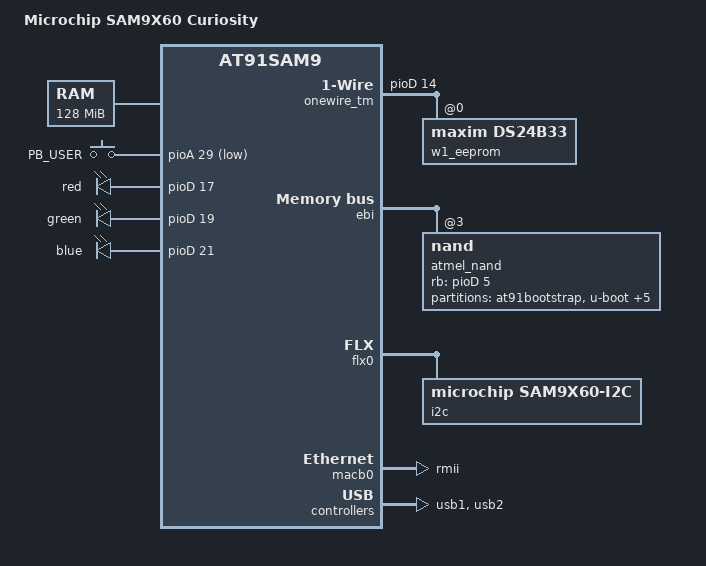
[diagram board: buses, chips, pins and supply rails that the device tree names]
// SPDX-License-Identifier: (GPL-2.0+ OR MIT)
/*
 * at91-sam9x60_curiosity.dts - Device Tree file for SAM9X60 CURIOSITY board
 *
 * Copyright (C) 2022 Microchip Technology Inc. and its subsidiaries
 *
 * Author: Durai Manickam KR <durai.manickamkr@microchip.com>
 */
/dts-v1/;
#include <dt-bindings/input/input.h>
#include <dt-bindings/mfd/atmel-flexcom.h>
#include "sam9x60.dtsi"

/ {
	model = "Microchip SAM9X60 Curiosity";
	compatible = "microchip,sam9x60-curiosity", "microchip,sam9x60", "atmel,at91sam9";

	chosen {
		stdout-path = &dbgu;
		i2c0 = &flx0;
	};

	memory {
		reg = <0x20000000 0x8000000>;
	};

	clocks {
		slow_xtal: slow_xtal {
			clock-frequency = <32768>;
		};

		main_xtal: main_xtal {
			clock-frequency = <24000000>;
		};
	};

	gpio-keys {
		compatible = "gpio-keys";
		pinctrl-names = "default";
		pinctrl-0 = <&pinctrl_key_gpio_default>;

		button-user {
			label = "PB_USER";
			gpios = <&pioA 29 GPIO_ACTIVE_LOW>;
			linux,code = <KEY_PROG1>;
			wakeup-source;
		};
	};

	leds {
		compatible = "gpio-leds";
		pinctrl-names = "default";
		pinctrl-0 = <&pinctrl_gpio_leds>;

		led-red {
			label = "red";
			gpios = <&pioD 17 GPIO_ACTIVE_HIGH>;
		};

		led-green {
			label = "green";
			gpios = <&pioD 19 GPIO_ACTIVE_HIGH>;
		};

		led-blue {
			label = "blue";
			gpios = <&pioD 21 GPIO_ACTIVE_HIGH>;
			linux,default-trigger = "heartbeat";
		};
	};

	onewire_tm: onewire {
		gpios = <&pioD 14 GPIO_ACTIVE_HIGH>;
		pinctrl-names = "default";
		pinctrl-0 = <&pinctrl_onewire_tm_default>;
		status = "okay";

		w1_eeprom: w1_eeprom@0 {
			compatible = "maxim,ds24b33";
			status = "okay";
		};
	};
};

&ebi {
	pinctrl-names = "default";
	pinctrl-0 = <&pinctrl_ebi_addr_nand &pinctrl_ebi_data_0_7>;
	status = "okay";

	nand_controller: nand-controller {
		pinctrl-names = "default";
		pinctrl-0 = <&pinctrl_nand_oe_we &pinctrl_nand_cs &pinctrl_nand_rb>;
		status = "okay";

		nand@3 {
			reg = <0x3 0x0 0x800000>;
			rb-gpios = <&pioD 5 GPIO_ACTIVE_HIGH>;
			cs-gpios = <&pioD 4 GPIO_ACTIVE_HIGH>;
			nand-bus-width = <8>;
			nand-ecc-mode = "hw";
			nand-ecc-strength = <8>;
			nand-ecc-step-size = <512>;
			nand-on-flash-bbt;
			label = "atmel_nand";

			partitions {
				compatible = "fixed-partitions";
				#address-cells = <1>;
				#size-cells = <1>;

				at91bootstrap@0 {
					label = "at91bootstrap";
					reg = <0x0 0x40000>;
				};

				uboot@40000 {
					label = "u-boot";
					reg = <0x40000 0xc0000>;
				};

				ubootenvred@100000 {
					label = "U-Boot Env Redundant";
					reg = <0x100000 0x40000>;
				};

				ubootenv@140000 {
					label = "U-Boot Env";
					reg = <0x140000 0x40000>;
				};

				dtb@180000 {
					label = "device tree";
					reg = <0x180000 0x80000>;
				};

				kernel@200000 {
					label = "kernel";
					reg = <0x200000 0x600000>;
				};

				rootfs@800000 {
					label = "rootfs";
					reg = <0x800000 0x1f800000>;
				};
			};
		};
	};
};

&flx0 {
	atmel,flexcom-mode = <ATMEL_FLEXCOM_MODE_TWI>;
	status = "okay";

	i2c@600 {
		compatible = "microchip,sam9x60-i2c";
		reg = <0x600 0x200>;
		pinctrl-names = "default";
		pinctrl-0 = <&pinctrl_flx0>;
		#address-cells = <1>;
		#size-cells = <0>;
		clocks = <&pmc PMC_TYPE_PERIPHERAL 5>;
		status = "okay";

		eeprom@53 {
			compatible = "atmel,24c02";
			reg = <0x53>;
			pagesize = <16>;
		};
	};
};

&macb0 {
	phy-mode = "rmii";
	status = "okay";
};

&pinctrl {
	ebi {
		pinctrl_ebi_data_0_7: ebi-data-lsb-0 {
			atmel,pins =
				<AT91_PIOD 6 AT91_PERIPH_A (AT91_PINCTRL_NONE | AT91_PINCTRL_SLEWRATE_DIS)
				 AT91_PIOD 7 AT91_PERIPH_A (AT91_PINCTRL_NONE | AT91_PINCTRL_SLEWRATE_DIS)
				 AT91_PIOD 8 AT91_PERIPH_A (AT91_PINCTRL_NONE | AT91_PINCTRL_SLEWRATE_DIS)
				 AT91_PIOD 9 AT91_PERIPH_A (AT91_PINCTRL_NONE | AT91_PINCTRL_SLEWRATE_DIS)
				 AT91_PIOD 10 AT91_PERIPH_A (AT91_PINCTRL_NONE | AT91_PINCTRL_SLEWRATE_DIS)
				 AT91_PIOD 11 AT91_PERIPH_A (AT91_PINCTRL_NONE | AT91_PINCTRL_SLEWRATE_DIS)
				 AT91_PIOD 12 AT91_PERIPH_A (AT91_PINCTRL_NONE | AT91_PINCTRL_SLEWRATE_DIS)
				 AT91_PIOD 13 AT91_PERIPH_A (AT91_PINCTRL_NONE | AT91_PINCTRL_SLEWRATE_DIS)>;
		};

		pinctrl_ebi_addr_nand: ebi-addr-0 {
			atmel,pins =
				<AT91_PIOD 2 AT91_PERIPH_A (AT91_PINCTRL_NONE | AT91_PINCTRL_SLEWRATE_DIS)
				 AT91_PIOD 3 AT91_PERIPH_A (AT91_PINCTRL_NONE | AT91_PINCTRL_SLEWRATE_DIS)>;
		};
	};

	flexcom {
		pinctrl_flx0: flx0_default {
			atmel,pins =
				<AT91_PIOA 0 AT91_PERIPH_A AT91_PINCTRL_NONE
				 AT91_PIOA 1 AT91_PERIPH_A AT91_PINCTRL_NONE>;
		};
	};

	gpio-keys {
		pinctrl_key_gpio_default: pinctrl-key-gpio {
			atmel,pins = <AT91_PIOA 29 AT91_PERIPH_GPIO AT91_PINCTRL_NONE>;
		};
	};

	leds {
		pinctrl_gpio_leds: gpio-leds {
			atmel,pins = <AT91_PIOD 17 AT91_PERIPH_GPIO AT91_PINCTRL_NONE
				      AT91_PIOD 19 AT91_PERIPH_GPIO AT91_PINCTRL_NONE
				      AT91_PIOD 21 AT91_PERIPH_GPIO AT91_PINCTRL_NONE>;
		};
	};

	nand {
		pinctrl_nand_oe_we: nand-oe-we-0 {
			atmel,pins =
				<AT91_PIOD 0 AT91_PERIPH_A (AT91_PINCTRL_NONE | AT91_PINCTRL_SLEWRATE_DIS)
				 AT91_PIOD 1 AT91_PERIPH_A (AT91_PINCTRL_NONE | AT91_PINCTRL_SLEWRATE_DIS)>;
		};

		pinctrl_nand_rb: nand-rb-0 {
			atmel,pins =
				<AT91_PIOD 5 AT91_PERIPH_GPIO AT91_PINCTRL_PULL_UP>;
		};

		pinctrl_nand_cs: nand-cs-0 {
			atmel,pins =
				<AT91_PIOD 4 AT91_PERIPH_GPIO AT91_PINCTRL_PULL_UP>;
		};
	};

	pinctrl_onewire_tm_default: onewire_tm_default {
		atmel,pins =
			<AT91_PIOD 14 AT91_PERIPH_GPIO AT91_PINCTRL_PULL_UP>;
	};

	usb1 {
		pinctrl_usb_default: usb_default {
			atmel,pins = <AT91_PIOD 15 AT91_PERIPH_GPIO AT91_PINCTRL_NONE
				      AT91_PIOD 18 AT91_PERIPH_GPIO AT91_PINCTRL_NONE>;
		};
	};
};

&usb1 {
	num-ports = <3>;
	atmel,vbus-gpio = <0
			   &pioD 15 GPIO_ACTIVE_HIGH
			   &pioD 18 GPIO_ACTIVE_HIGH>;
	pinctrl-names = "default";
	pinctrl-0 = <&pinctrl_usb_default>;
	status = "okay";
};

&usb2 {
	status = "okay";
};
